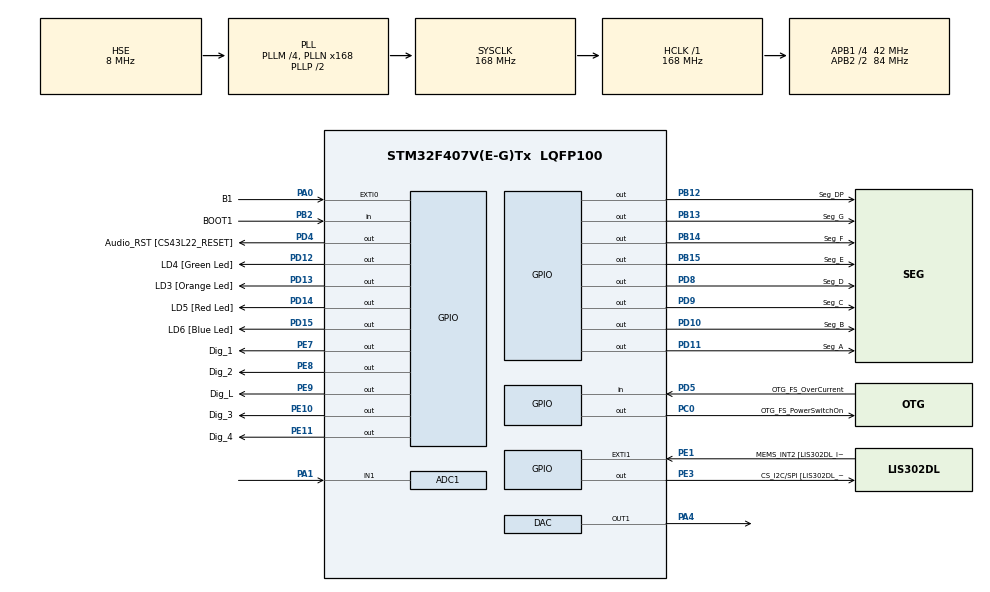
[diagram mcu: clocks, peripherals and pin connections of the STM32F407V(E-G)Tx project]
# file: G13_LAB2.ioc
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ADC1.Channel-0\#ChannelRegularConversion=ADC_CHANNEL_1
ADC1.ClockPrescaler=ADC_CLOCK_SYNC_PCLK_DIV4
ADC1.ContinuousConvMode=DISABLE
ADC1.DMAContinuousRequests=DISABLE
ADC1.DataAlign=ADC_DATAALIGN_RIGHT
ADC1.DiscontinuousConvMode=DISABLE
ADC1.EOCSelection=ADC_EOC_SINGLE_CONV
ADC1.EnableAnalogWatchDog=false
ADC1.ExternalTrigConv=ADC_SOFTWARE_START
ADC1.ExternalTrigConvEdge=ADC_EXTERNALTRIGCONVEDGE_NONE
ADC1.InjNumberOfConversion=0
ADC1.NbrOfConversion=1
ADC1.NbrOfConversionFlag=1
ADC1.Rank-0\#ChannelRegularConversion=1
ADC1.Resolution=ADC_RESOLUTION_10B
ADC1.SamplingTime-0\#ChannelRegularConversion=ADC_SAMPLETIME_3CYCLES
ADC1.ScanConvMode=DISABLE
ADC1.master=1
Mcu.Family=STM32F4
Mcu.Name=STM32F407V(E-G)Tx
Mcu.Package=LQFP100
NVIC.ADC_IRQn=true\:0\:0\:false\:false\:true\:true
NVIC.EXTI0_IRQn=true\:0\:0\:false\:false\:true\:true
NVIC.PriorityGroup=NVIC_PRIORITYGROUP_0
PA0-WKUP.GPIO_Label=B1
PA0-WKUP.GPIO_ModeDefaultEXTI=GPIO_MODE_IT_RISING
PA0-WKUP.Signal=GPXTI0
PA1.Signal=ADCx_IN1
PA10.GPIO_Label=OTG_FS_ID
PA10.GPIO_Mode=GPIO_MODE_AF_PP
PA10.GPIO_PuPd=GPIO_NOPULL
PA10.GPIO_Speed=GPIO_SPEED_FREQ_LOW
PA10.Signal=USB_OTG_FS_ID
PA11.GPIO_Label=OTG_FS_DM
PA11.GPIO_Mode=GPIO_MODE_AF_PP
PA11.GPIO_PuPd=GPIO_NOPULL
PA11.GPIO_Speed=GPIO_SPEED_FREQ_LOW
PA11.Signal=USB_OTG_FS_DM
PA12.GPIO_Label=OTG_FS_DP
PA12.GPIO_Mode=GPIO_MODE_AF_PP
PA12.GPIO_PuPd=GPIO_NOPULL
PA12.GPIO_Speed=GPIO_SPEED_FREQ_LOW
PA12.Signal=USB_OTG_FS_DP
PA13.GPIO_Label=SWDIO
PA13.Signal=SYS_JTMS-SWDIO
PA14.GPIO_Label=SWCLK
PA14.Signal=SYS_JTCK-SWCLK
PA4.Signal=COMP_DAC1_group
PA5.GPIO_Label=SPI1_SCK [LIS302DL_SCL/SPC]
PA5.GPIO_Mode=GPIO_MODE_AF_PP
PA5.GPIO_PuPd=GPIO_NOPULL
PA5.GPIO_Speed=GPIO_SPEED_FREQ_LOW
PA5.Signal=SPI1_SCK
PA6.GPIO_Label=SPI1_MISO [LIS302DL_SDO]
PA6.GPIO_Mode=GPIO_MODE_AF_PP
PA6.GPIO_PuPd=GPIO_NOPULL
PA6.GPIO_Speed=GPIO_SPEED_FREQ_LOW
PA6.Signal=SPI1_MISO
PA7.GPIO_Label=SPI1_MOSI [LIS302DL_SDA/SDI/SDO]
PA7.GPIO_Mode=GPIO_MODE_AF_PP
PA7.GPIO_PuPd=GPIO_NOPULL
PA7.GPIO_Speed=GPIO_SPEED_FREQ_LOW
PA7.Signal=SPI1_MOSI
PA9.GPIO_Label=VBUS_FS
PA9.GPIO_Mode=GPIO_MODE_INPUT
PA9.GPIO_PuPd=GPIO_NOPULL
PA9.Signal=USB_OTG_FS_VBUS
PB10.GPIO_Label=CLK_IN [MP45DT02_CLK]
PB10.GPIO_Mode=GPIO_MODE_AF_PP
PB10.GPIO_PuPd=GPIO_NOPULL
PB10.GPIO_Speed=GPIO_SPEED_FREQ_LOW
PB10.Signal=I2S2_CK
PB12.GPIO_Label=Seg_DP
PB12.Signal=GPIO_Output
PB13.GPIO_Label=Seg_G
PB13.Signal=GPIO_Output
PB14.GPIO_Label=Seg_F
PB14.Signal=GPIO_Output
PB15.GPIO_Label=Seg_E
PB15.Signal=GPIO_Output
PB2.GPIO_Label=BOOT1
PB2.GPIO_Mode=GPIO_MODE_INPUT
PB2.GPIO_PuPd=GPIO_NOPULL
PB2.Signal=GPIO_Input
PB3.GPIO_Label=SWO
PB3.Signal=SYS_JTDO-SWO
PB6.GPIO_Label=Audio_SCL [CS43L22_SCL]
PB6.GPIO_Mode=GPIO_MODE_AF_OD
PB6.GPIO_PuPd=GPIO_NOPULL
PB6.GPIO_Speed=GPIO_SPEED_FREQ_LOW
PB6.Signal=I2C1_SCL
PB9.GPIO_Label=Audio_SDA [CS43L22_SDA]
PB9.GPIO_Mode=GPIO_MODE_AF_OD
PB9.GPIO_PuPd=GPIO_NOPULL
PB9.GPIO_Speed=GPIO_SPEED_FREQ_LOW
PB9.Signal=I2C1_SDA
PC0.GPIO_Label=OTG_FS_PowerSwitchOn
PC0.GPIO_PuPd=GPIO_NOPULL
PC0.GPIO_Speed=GPIO_SPEED_FREQ_LOW
PC0.PinState=GPIO_PIN_SET
PC0.Signal=GPIO_Output
PC10.GPIO_Label=I2S3_SCK [CS43L22_SCLK]
PC10.GPIO_Mode=GPIO_MODE_AF_PP
PC10.GPIO_PuPd=GPIO_NOPULL
PC10.GPIO_Speed=GPIO_SPEED_FREQ_LOW
PC10.Signal=I2S3_CK
PC12.GPIO_Label=I2S3_SD [CS43L22_SDIN]
PC12.GPIO_Mode=GPIO_MODE_AF_PP
PC12.GPIO_PuPd=GPIO_NOPULL
PC12.GPIO_Speed=GPIO_SPEED_FREQ_LOW
PC12.Signal=I2S3_SD
PC14-OSC32_IN.GPIO_Label=PC14-OSC32_IN
PC14-OSC32_IN.Signal=RCC_OSC32_IN
PC15-OSC32_OUT.GPIO_Label=PC15-OSC32_OUT
PC15-OSC32_OUT.Signal=RCC_OSC32_OUT
PC3.GPIO_Label=PDM_OUT [MP45DT02_DOUT]
PC3.GPIO_Mode=GPIO_MODE_AF_PP
PC3.GPIO_PuPd=GPIO_NOPULL
PC3.GPIO_Speed=GPIO_SPEED_FREQ_LOW
PC3.Signal=I2S2_SD
PC7.GPIO_Label=I2S3_MCK [CS43L22_MCLK]
PC7.GPIO_Mode=GPIO_MODE_AF_PP
PC7.GPIO_PuPd=GPIO_NOPULL
PC7.GPIO_Speed=GPIO_SPEED_FREQ_LOW
PC7.Signal=I2S3_MCK
PD10.GPIO_Label=Seg_B
PD10.Signal=GPIO_Output
PD11.GPIO_Label=Seg_A
PD11.Signal=GPIO_Output
PD12.GPIO_Label=LD4 [Green Led]
PD12.GPIO_PuPd=GPIO_NOPULL
PD12.GPIO_Speed=GPIO_SPEED_FREQ_LOW
PD12.Signal=GPIO_Output
PD13.GPIO_Label=LD3 [Orange Led]
PD13.GPIO_PuPd=GPIO_NOPULL
PD13.GPIO_Speed=GPIO_SPEED_FREQ_LOW
PD13.Signal=GPIO_Output
PD14.GPIO_Label=LD5 [Red Led]
PD14.GPIO_PuPd=GPIO_NOPULL
PD14.GPIO_Speed=GPIO_SPEED_FREQ_LOW
PD14.Signal=GPIO_Output
PD15.GPIO_Label=LD6 [Blue Led]
PD15.GPIO_PuPd=GPIO_NOPULL
PD15.GPIO_Speed=GPIO_SPEED_FREQ_LOW
PD15.Signal=GPIO_Output
PD4.GPIO_Label=Audio_RST [CS43L22_RESET]
PD4.GPIO_PuPd=GPIO_NOPULL
PD4.GPIO_Speed=GPIO_SPEED_FREQ_LOW
PD4.Signal=GPIO_Output
PD5.GPIO_Label=OTG_FS_OverCurrent
PD5.GPIO_Mode=GPIO_MODE_INPUT
PD5.GPIO_PuPd=GPIO_NOPULL
PD5.Signal=GPIO_Input
PD8.GPIO_Label=Seg_D
PD8.Signal=GPIO_Output
PD9.GPIO_Label=Seg_C
PD9.Signal=GPIO_Output
PE1.GPIO_Label=MEMS_INT2 [LIS302DL_INT2]
PE1.GPIO_ModeDefaultEXTI=GPIO_MODE_EVT_RISING
PE1.GPIO_PuPd=GPIO_NOPULL
PE1.Signal=GPXTI1
PE10.GPIO_Label=Dig_3
PE10.Signal=GPIO_Output
PE11.GPIO_Label=Dig_4
PE11.Signal=GPIO_Output
PE3.GPIO_Label=CS_I2C/SPI [LIS302DL_CS_I2C/SPI]
PE3.GPIO_PuPd=GPIO_NOPULL
PE3.GPIO_Speed=GPIO_SPEED_FREQ_LOW
PE3.Signal=GPIO_Output
PE7.GPIO_Label=Dig_1
PE7.Signal=GPIO_Output
PE8.GPIO_Label=Dig_2
PE8.Signal=GPIO_Output
PE9.GPIO_Label=Dig_L
PE9.Signal=GPIO_Output
PH0-OSC_IN.GPIO_Label=PH0-OSC_IN
PH0-OSC_IN.Mode=HSE-External-Oscillator
PH0-OSC_IN.Signal=RCC_OSC_IN
PH1-OSC_OUT.GPIO_Label=PH1-OSC_OUT
PH1-OSC_OUT.Mode=HSE-External-Oscillator
PH1-OSC_OUT.Signal=RCC_OSC_OUT
ProjectManager.HeapSize=0x200
ProjectManager.StackSize=0x400
ProjectManager.TargetToolchain=MDK-ARM V5
RCC.48MHZClocksFreq_Value=48000000
RCC.AHBFreq_Value=168000000
RCC.APB1CLKDivider=RCC_HCLK_DIV4
RCC.APB1Freq_Value=42000000
RCC.APB1TimFreq_Value=84000000
RCC.APB2CLKDivider=RCC_HCLK_DIV2
RCC.APB2Freq_Value=84000000
RCC.APB2TimFreq_Value=168000000
RCC.CortexFreq_Value=168000000
RCC.HCLKFreq_Value=168000000
RCC.HSE_VALUE=8000000
RCC.HSI_VALUE=16000000
RCC.LSE_VALUE=32768
RCC.PLLM=4
RCC.PLLN=168
RCC.PLLQ=7
RCC.PLLSourceVirtual=RCC_PLLSOURCE_HSE
RCC.SYSCLKFreq_VALUE=168000000
RCC.SYSCLKSource=RCC_SYSCLKSOURCE_PLLCLK
RCC.VCOOutputFreq_Value=336000000
SH.ADCx_IN1.0=ADC1_IN1,IN1
SH.COMP_DAC1_group.0=DAC_OUT1,DAC_OUT1
board=STM32F4DISCOVERY

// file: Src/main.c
/**
  ******************************************************************************
  * @file           : main.c
  * @brief          : Main program body
  ******************************************************************************
  ** This notice applies to any and all portions of this file
  * that are not between comment pairs USER CODE BEGIN and
  * USER CODE END. Other portions of this file, whether
  * inserted by the user or by software development tools
  * are owned by their respective copyright owners.
  *
  * COPYRIGHT(c) 2018 STMicroelectronics
  *
  * Redistribution and use in source and binary forms, with or without modification,
  * are permitted provided that the following conditions are met:
  *   1. Redistributions of source code must retain the above copyright notice,
  *      this list of conditions and the following disclaimer.
  *   2. Redistributions in binary form must reproduce the above copyright notice,
  *      this list of conditions and the following disclaimer in the documentation
  *      and/or other materials provided with the distribution.
  *   3. Neither the name of STMicroelectronics nor the names of its contributors
  *      may be used to endorse or promote products derived from this software
  *      without specific prior written permission.
  *
  * THIS SOFTWARE IS PROVIDED BY THE COPYRIGHT HOLDERS AND CONTRIBUTORS "AS IS"
  * AND ANY EXPRESS OR IMPLIED WARRANTIES, INCLUDING, BUT NOT LIMITED TO, THE
  * IMPLIED WARRANTIES OF MERCHANTABILITY AND FITNESS FOR A PARTICULAR PURPOSE ARE
  * DISCLAIMED. IN NO EVENT SHALL THE COPYRIGHT HOLDER OR CONTRIBUTORS BE LIABLE
  * FOR ANY DIRECT, INDIRECT, INCIDENTAL, SPECIAL, EXEMPLARY, OR CONSEQUENTIAL
  * DAMAGES (INCLUDING, BUT NOT LIMITED TO, PROCUREMENT OF SUBSTITUTE GOODS OR
  * SERVICES; LOSS OF USE, DATA, OR PROFITS; OR BUSINESS INTERRUPTION) HOWEVER
  * CAUSED AND ON ANY THEORY OF LIABILITY, WHETHER IN CONTRACT, STRICT LIABILITY,
  * OR TORT (INCLUDING NEGLIGENCE OR OTHERWISE) ARISING IN ANY WAY OUT OF THE USE
  * OF THIS SOFTWARE, EVEN IF ADVISED OF THE POSSIBILITY OF SUCH DAMAGE.
  *
  ******************************************************************************
  */
#include "main.h"
#include "stm32f4xx_hal.h"

/* USER CODE BEGIN Includes */
#include <math.h>

/* USER CODE END Includes */

ADC_HandleTypeDef hadc1;

DAC_HandleTypeDef hdac;

/* USER CODE BEGIN PV */
/* Private variables ---------------------------------------------------------*/

int sampleNB = 100; //CHANGE FOR SAMPLE NUMBER
int sample = 0;

#define MATH_ARRAY_SIZE 5
int displayMode = 0;
float filterMemory [] = {0, 0, 0, 0, 0};
int adc_val;
float filtered_adc;
float mathResults [MATH_ARRAY_SIZE];
extern uint8_t systickFlag;
extern uint8_t buttonFlag;

/* USER CODE END PV */

void SystemClock_Config(void);
static void MX_GPIO_Init(void);
static void MX_ADC1_Init(void);
static void MX_DAC_Init(void);

/* USER CODE BEGIN PFP */
/* Private function prototypes -----------------------------------------------*/
void FIR_C(float input, float *output);
//int buttonPressed();
void displayNum (int num, int pos);
void C_math (float * inputArray, float * outputArray, int length);
void display (int mode, float num);

/* USER CODE END PFP */

int main(void)
{
  /* USER CODE BEGIN 1 */

	float data [sampleNB];

  /* Reset of all peripherals, Initializes the Flash interface and the Systick. */

  /* USER CODE END 1 */

  /* MCU Configuration----------------------------------------------------------*/

  /* Reset of all peripherals, Initializes the Flash interface and the Systick. */
  HAL_Init();

  /* Configure the system clock */
  SystemClock_Config();

  /* Initialize all configured peripherals */
  MX_GPIO_Init();
  MX_ADC1_Init();
  MX_DAC_Init();
  /* USER CODE BEGIN 2 */
		printf("begin!");

  /* USER CODE END 2 */

  /* Infinite loop */
  /* USER CODE BEGIN WHILE */

	while (1){
		if(systickFlag == 1){

			systickFlag = 0;

			int dac_val = 0x30;
			HAL_DAC_Start(&hdac, DAC_CHANNEL_1);
			HAL_DAC_SetValue(&hdac, DAC_CHANNEL_1, DAC_ALIGN_8B_R, dac_val);    //DAC is 8 bits resolution

			HAL_ADC_Start_IT(&hadc1);

			adc_val = HAL_ADC_GetValue(&hadc1);
			//FIR_C(adc_val, &filtered_adc);
			float test = (float)adc_val*3.0/1023.0;
			FIR_C(test, &filtered_adc);             //filter ADC value
			data [sample] = filtered_adc;           //store filtered data in array

			sample ++;
			sample = sample % sampleNB;
		}
		if ( buttonFlag == 1){
			buttonFlag = 0;
			displayMode = displayMode + 1;
			displayMode = displayMode % 3;
			printf("displayMode = %d \n!", displayMode);
		}

		C_math (&data[0], &mathResults [0], sampleNB);                //perform math operation on data to get RMS, min and max values

		switch(displayMode) {
			case 0:
				HAL_GPIO_WritePin(GPIOD, LD3_Pin, GPIO_PIN_SET); // switch on LED6
				HAL_GPIO_WritePin(GPIOD, LD4_Pin, GPIO_PIN_RESET); // reset LED4
				HAL_GPIO_WritePin(GPIOD, LD5_Pin, GPIO_PIN_RESET);
				HAL_GPIO_WritePin(GPIOD, LD6_Pin, GPIO_PIN_RESET);
				break;
			case 1:
				HAL_GPIO_WritePin(GPIOD, LD4_Pin, GPIO_PIN_SET); // switch on LED5
				HAL_GPIO_WritePin(GPIOD, LD3_Pin, GPIO_PIN_RESET); // reset LED6
				HAL_GPIO_WritePin(GPIOD, LD5_Pin, GPIO_PIN_RESET);
				HAL_GPIO_WritePin(GPIOD, LD6_Pin, GPIO_PIN_RESET);
				break;
			case 2:
				HAL_GPIO_WritePin(GPIOD, LD5_Pin, GPIO_PIN_SET); // switch on LED4
				HAL_GPIO_WritePin(GPIOD, LD3_Pin, GPIO_PIN_RESET); // reset LED5
				HAL_GPIO_WritePin(GPIOD, LD4_Pin, GPIO_PIN_RESET);
				HAL_GPIO_WritePin(GPIOD, LD6_Pin, GPIO_PIN_RESET);
				break;
			default:
				break;
		}

		display (displayMode, mathResults [displayMode]);

  /* USER CODE END WHILE */

	}

}

void SystemClock_Config(void)
{

  RCC_OscInitTypeDef RCC_OscInitStruct;
  RCC_ClkInitTypeDef RCC_ClkInitStruct;

    /**Configure the main internal regulator output voltage
    */
  __HAL_RCC_PWR_CLK_ENABLE();

  __HAL_PWR_VOLTAGESCALING_CONFIG(PWR_REGULATOR_VOLTAGE_SCALE1);

    /**Initializes the CPU, AHB and APB busses clocks
    */
  RCC_OscInitStruct.OscillatorType = RCC_OSCILLATORTYPE_HSE;
  RCC_OscInitStruct.HSEState = RCC_HSE_ON;
  RCC_OscInitStruct.PLL.PLLState = RCC_PLL_ON;
  RCC_OscInitStruct.PLL.PLLSource = RCC_PLLSOURCE_HSE;
  RCC_OscInitStruct.PLL.PLLM = 4;
  RCC_OscInitStruct.PLL.PLLN = 168;
  RCC_OscInitStruct.PLL.PLLP = RCC_PLLP_DIV2;
  RCC_OscInitStruct.PLL.PLLQ = 7;
  if (HAL_RCC_OscConfig(&RCC_OscInitStruct) != HAL_OK)
  {
    _Error_Handler(__FILE__, __LINE__);
  }

    /**Initializes the CPU, AHB and APB busses clocks
    */
  RCC_ClkInitStruct.ClockType = RCC_CLOCKTYPE_HCLK|RCC_CLOCKTYPE_SYSCLK
                              |RCC_CLOCKTYPE_PCLK1|RCC_CLOCKTYPE_PCLK2;
  RCC_ClkInitStruct.SYSCLKSource = RCC_SYSCLKSOURCE_PLLCLK;
  RCC_ClkInitStruct.AHBCLKDivider = RCC_SYSCLK_DIV1;
  RCC_ClkInitStruct.APB1CLKDivider = RCC_HCLK_DIV4;
  RCC_ClkInitStruct.APB2CLKDivider = RCC_HCLK_DIV2;

  if (HAL_RCC_ClockConfig(&RCC_ClkInitStruct, FLASH_LATENCY_5) != HAL_OK)
  {
    _Error_Handler(__FILE__, __LINE__);
  }

    /**Configure the Systick interrupt time
    */
  HAL_SYSTICK_Config(HAL_RCC_GetHCLKFreq()/1000);

    /**Configure the Systick
    */
  HAL_SYSTICK_CLKSourceConfig(SYSTICK_CLKSOURCE_HCLK);

  /* SysTick_IRQn interrupt configuration */
  HAL_NVIC_SetPriority(SysTick_IRQn, 0, 0);
}

/* ADC1 init function */
static void MX_ADC1_Init(void)
{

  ADC_ChannelConfTypeDef sConfig;

    /**Configure the global features of the ADC (Clock, Resolution, Data Alignment and number of conversion)
    */
  hadc1.Instance = ADC1;
  hadc1.Init.ClockPrescaler = ADC_CLOCK_SYNC_PCLK_DIV4;
  hadc1.Init.Resolution = ADC_RESOLUTION_10B;
  hadc1.Init.ScanConvMode = DISABLE;
  hadc1.Init.ContinuousConvMode = DISABLE;
  hadc1.Init.DiscontinuousConvMode = DISABLE;
  hadc1.Init.ExternalTrigConvEdge = ADC_EXTERNALTRIGCONVEDGE_NONE;
  hadc1.Init.ExternalTrigConv = ADC_SOFTWARE_START;
  hadc1.Init.DataAlign = ADC_DATAALIGN_RIGHT;
  hadc1.Init.NbrOfConversion = 1;
  hadc1.Init.DMAContinuousRequests = DISABLE;
  hadc1.Init.EOCSelection = ADC_EOC_SINGLE_CONV;
  if (HAL_ADC_Init(&hadc1) != HAL_OK)
  {
    _Error_Handler(__FILE__, __LINE__);
  }

    /**Configure for the selected ADC regular channel its corresponding rank in the sequencer and its sample time.
    */
  sConfig.Channel = ADC_CHANNEL_1;
  sConfig.Rank = 1;
  sConfig.SamplingTime = ADC_SAMPLETIME_3CYCLES;
  if (HAL_ADC_ConfigChannel(&hadc1, &sConfig) != HAL_OK)
  {
    _Error_Handler(__FILE__, __LINE__);
  }

}

/* DAC init function */
static void MX_DAC_Init(void)
{

  DAC_ChannelConfTypeDef sConfig;

    /**DAC Initialization
    */
  hdac.Instance = DAC;
  if (HAL_DAC_Init(&hdac) != HAL_OK)
  {
    _Error_Handler(__FILE__, __LINE__);
  }

    /**DAC channel OUT1 config
    */
  sConfig.DAC_Trigger = DAC_TRIGGER_NONE;
  sConfig.DAC_OutputBuffer = DAC_OUTPUTBUFFER_ENABLE;
  if (HAL_DAC_ConfigChannel(&hdac, &sConfig, DAC_CHANNEL_1) != HAL_OK)
  {
    _Error_Handler(__FILE__, __LINE__);
  }

}

/** Configure pins as
        * Analog
        * Input
        * Output
        * EVENT_OUT
        * EXTI
     PC3   ------> I2S2_SD
     PA5   ------> SPI1_SCK
     PA6   ------> SPI1_MISO
     PA7   ------> SPI1_MOSI
     PB10   ------> I2S2_CK
     PC7   ------> I2S3_MCK
     PA9   ------> USB_OTG_FS_VBUS
     PA10   ------> USB_OTG_FS_ID
     PA11   ------> USB_OTG_FS_DM
     PA12   ------> USB_OTG_FS_DP
     PC10   ------> I2S3_CK
     PC12   ------> I2S3_SD
     PB6   ------> I2C1_SCL
     PB9   ------> I2C1_SDA
*/
static void MX_GPIO_Init(void)
{

  GPIO_InitTypeDef GPIO_InitStruct;

  /* GPIO Ports Clock Enable */
  __HAL_RCC_GPIOE_CLK_ENABLE();
  __HAL_RCC_GPIOC_CLK_ENABLE();
  __HAL_RCC_GPIOH_CLK_ENABLE();
  __HAL_RCC_GPIOA_CLK_ENABLE();
  __HAL_RCC_GPIOB_CLK_ENABLE();
  __HAL_RCC_GPIOD_CLK_ENABLE();

  /*Configure GPIO pin Output Level */
  HAL_GPIO_WritePin(GPIOE, CS_I2C_SPI_Pin|Dig_1_Pin|Dig_2_Pin|Dig_L_Pin
                          |Dig_3_Pin|Dig_4_Pin, GPIO_PIN_RESET);

  /*Configure GPIO pin Output Level */
  HAL_GPIO_WritePin(OTG_FS_PowerSwitchOn_GPIO_Port, OTG_FS_PowerSwitchOn_Pin, GPIO_PIN_SET);

  /*Configure GPIO pin Output Level */
  HAL_GPIO_WritePin(GPIOB, Seg_DP_Pin|Seg_G_Pin|Seg_F_Pin|Seg_E_Pin, GPIO_PIN_RESET);

  /*Configure GPIO pin Output Level */
  HAL_GPIO_WritePin(GPIOD, Seg_D_Pin|Seg_C_Pin|Seg_B_Pin|Seg_A_Pin
                          |LD4_Pin|LD3_Pin|LD5_Pin|LD6_Pin
                          |Audio_RST_Pin, GPIO_PIN_RESET);

  /*Configure GPIO pins : CS_I2C_SPI_Pin Dig_1_Pin Dig_2_Pin Dig_L_Pin
                           Dig_3_Pin Dig_4_Pin */
  GPIO_InitStruct.Pin = CS_I2C_SPI_Pin|Dig_1_Pin|Dig_2_Pin|Dig_L_Pin
                          |Dig_3_Pin|Dig_4_Pin;
  GPIO_InitStruct.Mode = GPIO_MODE_OUTPUT_PP;
  GPIO_InitStruct.Pull = GPIO_NOPULL;
  GPIO_InitStruct.Speed = GPIO_SPEED_FREQ_LOW;
  HAL_GPIO_Init(GPIOE, &GPIO_InitStruct);

  /*Configure GPIO pin : OTG_FS_PowerSwitchOn_Pin */
  GPIO_InitStruct.Pin = OTG_FS_PowerSwitchOn_Pin;
  GPIO_InitStruct.Mode = GPIO_MODE_OUTPUT_PP;
  GPIO_InitStruct.Pull = GPIO_NOPULL;
  GPIO_InitStruct.Speed = GPIO_SPEED_FREQ_LOW;
  HAL_GPIO_Init(OTG_FS_PowerSwitchOn_GPIO_Port, &GPIO_InitStruct);

  /*Configure GPIO pin : PDM_OUT_Pin */
  GPIO_InitStruct.Pin = PDM_OUT_Pin;
  GPIO_InitStruct.Mode = GPIO_MODE_AF_PP;
  GPIO_InitStruct.Pull = GPIO_NOPULL;
  GPIO_InitStruct.Speed = GPIO_SPEED_FREQ_LOW;
  GPIO_InitStruct.Alternate = GPIO_AF5_SPI2;
  HAL_GPIO_Init(PDM_OUT_GPIO_Port, &GPIO_InitStruct);

  /*Configure GPIO pin : B1_Pin */
  GPIO_InitStruct.Pin = B1_Pin;
  GPIO_InitStruct.Mode = GPIO_MODE_IT_RISING;
  GPIO_InitStruct.Pull = GPIO_NOPULL;
  HAL_GPIO_Init(B1_GPIO_Port, &GPIO_InitStruct);

  /*Configure GPIO pins : SPI1_SCK_Pin SPI1_MISO_Pin SPI1_MOSI_Pin */
  GPIO_InitStruct.Pin = SPI1_SCK_Pin|SPI1_MISO_Pin|SPI1_MOSI_Pin;
  GPIO_InitStruct.Mode = GPIO_MODE_AF_PP;
  GPIO_InitStruct.Pull = GPIO_NOPULL;
  GPIO_InitStruct.Speed = GPIO_SPEED_FREQ_LOW;
  GPIO_InitStruct.Alternate = GPIO_AF5_SPI1;
  HAL_GPIO_Init(GPIOA, &GPIO_InitStruct);

  /*Configure GPIO pin : BOOT1_Pin */
  GPIO_InitStruct.Pin = BOOT1_Pin;
  GPIO_InitStruct.Mode = GPIO_MODE_INPUT;
  GPIO_InitStruct.Pull = GPIO_NOPULL;
  HAL_GPIO_Init(BOOT1_GPIO_Port, &GPIO_InitStruct);

  /*Configure GPIO pin : CLK_IN_Pin */
  GPIO_InitStruct.Pin = CLK_IN_Pin;
  GPIO_InitStruct.Mode = GPIO_MODE_AF_PP;
  GPIO_InitStruct.Pull = GPIO_NOPULL;
  GPIO_InitStruct.Speed = GPIO_SPEED_FREQ_LOW;
  GPIO_InitStruct.Alternate = GPIO_AF5_SPI2;
  HAL_GPIO_Init(CLK_IN_GPIO_Port, &GPIO_InitStruct);

  /*Configure GPIO pins : Seg_DP_Pin Seg_G_Pin Seg_F_Pin Seg_E_Pin */
  GPIO_InitStruct.Pin = Seg_DP_Pin|Seg_G_Pin|Seg_F_Pin|Seg_E_Pin;
  GPIO_InitStruct.Mode = GPIO_MODE_OUTPUT_PP;
  GPIO_InitStruct.Pull = GPIO_NOPULL;
  GPIO_InitStruct.Speed = GPIO_SPEED_FREQ_LOW;
  HAL_GPIO_Init(GPIOB, &GPIO_InitStruct);

  /*Configure GPIO pins : Seg_D_Pin Seg_C_Pin Seg_B_Pin Seg_A_Pin
                           LD4_Pin LD3_Pin LD5_Pin LD6_Pin
                           Audio_RST_Pin */
  GPIO_InitStruct.Pin = Seg_D_Pin|Seg_C_Pin|Seg_B_Pin|Seg_A_Pin
                          |LD4_Pin|LD3_Pin|LD5_Pin|LD6_Pin
                          |Audio_RST_Pin;
  GPIO_InitStruct.Mode = GPIO_MODE_OUTPUT_PP;
  GPIO_InitStruct.Pull = GPIO_NOPULL;
  GPIO_InitStruct.Speed = GPIO_SPEED_FREQ_LOW;
  HAL_GPIO_Init(GPIOD, &GPIO_InitStruct);

  /*Configure GPIO pins : I2S3_MCK_Pin I2S3_SCK_Pin I2S3_SD_Pin */
  GPIO_InitStruct.Pin = I2S3_MCK_Pin|I2S3_SCK_Pin|I2S3_SD_Pin;
  GPIO_InitStruct.Mode = GPIO_MODE_AF_PP;
  GPIO_InitStruct.Pull = GPIO_NOPULL;
  GPIO_InitStruct.Speed = GPIO_SPEED_FREQ_LOW;
  GPIO_InitStruct.Alternate = GPIO_AF6_SPI3;
  HAL_GPIO_Init(GPIOC, &GPIO_InitStruct);

  /*Configure GPIO pin : VBUS_FS_Pin */
  GPIO_InitStruct.Pin = VBUS_FS_Pin;
  GPIO_InitStruct.Mode = GPIO_MODE_INPUT;
  GPIO_InitStruct.Pull = GPIO_NOPULL;
  HAL_GPIO_Init(VBUS_FS_GPIO_Port, &GPIO_InitStruct);

  /*Configure GPIO pins : OTG_FS_ID_Pin OTG_FS_DM_Pin OTG_FS_DP_Pin */
  GPIO_InitStruct.Pin = OTG_FS_ID_Pin|OTG_FS_DM_Pin|OTG_FS_DP_Pin;
  GPIO_InitStruct.Mode = GPIO_MODE_AF_PP;
  GPIO_InitStruct.Pull = GPIO_NOPULL;
  GPIO_InitStruct.Speed = GPIO_SPEED_FREQ_LOW;
  GPIO_InitStruct.Alternate = GPIO_AF10_OTG_FS;
  HAL_GPIO_Init(GPIOA, &GPIO_InitStruct);

  /*Configure GPIO pin : OTG_FS_OverCurrent_Pin */
  GPIO_InitStruct.Pin = OTG_FS_OverCurrent_Pin;
  GPIO_InitStruct.Mode = GPIO_MODE_INPUT;
  GPIO_InitStruct.Pull = GPIO_NOPULL;
  HAL_GPIO_Init(OTG_FS_OverCurrent_GPIO_Port, &GPIO_InitStruct);

  /*Configure GPIO pins : Audio_SCL_Pin Audio_SDA_Pin */
  GPIO_InitStruct.Pin = Audio_SCL_Pin|Audio_SDA_Pin;
  GPIO_InitStruct.Mode = GPIO_MODE_AF_OD;
  GPIO_InitStruct.Pull = GPIO_PULLUP;
  GPIO_InitStruct.Speed = GPIO_SPEED_FREQ_LOW;
  GPIO_InitStruct.Alternate = GPIO_AF4_I2C1;
  HAL_GPIO_Init(GPIOB, &GPIO_InitStruct);

  /*Configure GPIO pin : MEMS_INT2_Pin */
  GPIO_InitStruct.Pin = MEMS_INT2_Pin;
  GPIO_InitStruct.Mode = GPIO_MODE_EVT_RISING;
  GPIO_InitStruct.Pull = GPIO_NOPULL;
  HAL_GPIO_Init(MEMS_INT2_GPIO_Port, &GPIO_InitStruct);

  /* EXTI interrupt init*/
  HAL_NVIC_SetPriority(EXTI0_IRQn, 0, 0);
  HAL_NVIC_EnableIRQ(EXTI0_IRQn);

}

/* USER CODE BEGIN 4 */
/**
  * @brief  This function displays a integer on one of the digits of a 7 segiment, 4 digit led display
	* @param  num: integer number to be displayed
						pos: the location in a 4 digit display,
  * @retval none
  */
void displayNum (int num, int pos) {       //function used to diplay a single digit on LED segments
	switch (num){
		case 0:
			HAL_GPIO_WritePin(GPIOD, Seg_A_Pin, GPIO_PIN_SET);
			HAL_GPIO_WritePin(GPIOD, Seg_B_Pin, GPIO_PIN_SET);
			HAL_GPIO_WritePin(GPIOD, Seg_C_Pin, GPIO_PIN_SET);
			HAL_GPIO_WritePin(GPIOD, Seg_D_Pin, GPIO_PIN_SET);
			HAL_GPIO_WritePin(GPIOB, Seg_E_Pin, GPIO_PIN_SET);
			HAL_GPIO_WritePin(GPIOB, Seg_F_Pin, GPIO_PIN_SET);
			HAL_GPIO_WritePin(GPIOB, Seg_G_Pin, GPIO_PIN_RESET);
			break;
		case 1:
			HAL_GPIO_WritePin(GPIOD, Seg_A_Pin, GPIO_PIN_RESET);
			HAL_GPIO_WritePin(GPIOD, Seg_B_Pin, GPIO_PIN_SET);
			HAL_GPIO_WritePin(GPIOD, Seg_C_Pin, GPIO_PIN_SET);
			HAL_GPIO_WritePin(GPIOD, Seg_D_Pin, GPIO_PIN_RESET);
			HAL_GPIO_WritePin(GPIOB, Seg_E_Pin, GPIO_PIN_RESET);
			HAL_GPIO_WritePin(GPIOB, Seg_F_Pin, GPIO_PIN_RESET);
			HAL_GPIO_WritePin(GPIOB, Seg_G_Pin, GPIO_PIN_RESET);
			break;
		case 2:
			HAL_GPIO_WritePin(GPIOD, Seg_A_Pin, GPIO_PIN_SET);
			HAL_GPIO_WritePin(GPIOD, Seg_B_Pin, GPIO_PIN_SET);
			HAL_GPIO_WritePin(GPIOD, Seg_C_Pin, GPIO_PIN_RESET);
			HAL_GPIO_WritePin(GPIOD, Seg_D_Pin, GPIO_PIN_SET);
			HAL_GPIO_WritePin(GPIOB, Seg_E_Pin, GPIO_PIN_SET);
			HAL_GPIO_WritePin(GPIOB, Seg_F_Pin, GPIO_PIN_RESET);
			HAL_GPIO_WritePin(GPIOB, Seg_G_Pin, GPIO_PIN_SET);
			break;

		case 3:
			HAL_GPIO_WritePin(GPIOD, Seg_A_Pin, GPIO_PIN_SET);
			HAL_GPIO_WritePin(GPIOD, Seg_B_Pin, GPIO_PIN_SET);
			HAL_GPIO_WritePin(GPIOD, Seg_C_Pin, GPIO_PIN_SET);
			HAL_GPIO_WritePin(GPIOD, Seg_D_Pin, GPIO_PIN_SET);
			HAL_GPIO_WritePin(GPIOB, Seg_E_Pin, GPIO_PIN_RESET);
			HAL_GPIO_WritePin(GPIOB, Seg_F_Pin, GPIO_PIN_RESET);
			HAL_GPIO_WritePin(GPIOB, Seg_G_Pin, GPIO_PIN_SET);
			break;

		case 4:
			HAL_GPIO_WritePin(GPIOD, Seg_A_Pin, GPIO_PIN_RESET);
			HAL_GPIO_WritePin(GPIOD, Seg_B_Pin, GPIO_PIN_SET);
			HAL_GPIO_WritePin(GPIOD, Seg_C_Pin, GPIO_PIN_SET);
			HAL_GPIO_WritePin(GPIOD, Seg_D_Pin, GPIO_PIN_RESET);
			HAL_GPIO_WritePin(GPIOB, Seg_E_Pin, GPIO_PIN_RESET);
			HAL_GPIO_WritePin(GPIOB, Seg_F_Pin, GPIO_PIN_SET);
			HAL_GPIO_WritePin(GPIOB, Seg_G_Pin, GPIO_PIN_SET);
			break;

		case 5:
			HAL_GPIO_WritePin(GPIOD, Seg_A_Pin, GPIO_PIN_SET);
			HAL_GPIO_WritePin(GPIOD, Seg_B_Pin, GPIO_PIN_RESET);
			HAL_GPIO_WritePin(GPIOD, Seg_C_Pin, GPIO_PIN_SET);
			HAL_GPIO_WritePin(GPIOD, Seg_D_Pin, GPIO_PIN_SET);
			HAL_GPIO_WritePin(GPIOB, Seg_E_Pin, GPIO_PIN_RESET);
			HAL_GPIO_WritePin(GPIOB, Seg_F_Pin, GPIO_PIN_SET);
			HAL_GPIO_WritePin(GPIOB, Seg_G_Pin, GPIO_PIN_SET);
			break;

		case 6:
			HAL_GPIO_WritePin(GPIOD, Seg_A_Pin, GPIO_PIN_SET);
			HAL_GPIO_WritePin(GPIOD, Seg_B_Pin, GPIO_PIN_RESET);
			HAL_GPIO_WritePin(GPIOD, Seg_C_Pin, GPIO_PIN_SET);
			HAL_GPIO_WritePin(GPIOD, Seg_D_Pin, GPIO_PIN_SET);
			HAL_GPIO_WritePin(GPIOB, Seg_E_Pin, GPIO_PIN_SET);
			HAL_GPIO_WritePin(GPIOB, Seg_F_Pin, GPIO_PIN_SET);
			HAL_GPIO_WritePin(GPIOB, Seg_G_Pin, GPIO_PIN_SET);
			break;

		case 7:
			HAL_GPIO_WritePin(GPIOD, Seg_A_Pin, GPIO_PIN_SET);
			HAL_GPIO_WritePin(GPIOD, Seg_B_Pin, GPIO_PIN_SET);
			HAL_GPIO_WritePin(GPIOD, Seg_C_Pin, GPIO_PIN_SET);
			HAL_GPIO_WritePin(GPIOD, Seg_D_Pin, GPIO_PIN_RESET);
			HAL_GPIO_WritePin(GPIOB, Seg_E_Pin, GPIO_PIN_RESET);
			HAL_GPIO_WritePin(GPIOB, Seg_F_Pin, GPIO_PIN_RESET);
			HAL_GPIO_WritePin(GPIOB, Seg_G_Pin, GPIO_PIN_RESET);
			break;

		case 8:
			HAL_GPIO_WritePin(GPIOD, Seg_A_Pin, GPIO_PIN_SET);
			HAL_GPIO_WritePin(GPIOD, Seg_B_Pin, GPIO_PIN_SET);
			HAL_GPIO_WritePin(GPIOD, Seg_C_Pin, GPIO_PIN_SET);
			HAL_GPIO_WritePin(GPIOD, Seg_D_Pin, GPIO_PIN_SET);
			HAL_GPIO_WritePin(GPIOB, Seg_E_Pin, GPIO_PIN_SET);
			HAL_GPIO_WritePin(GPIOB, Seg_F_Pin, GPIO_PIN_SET);
			HAL_GPIO_WritePin(GPIOB, Seg_G_Pin, GPIO_PIN_SET);
			break;
		case 9:
			HAL_GPIO_WritePin(GPIOD, Seg_A_Pin, GPIO_PIN_SET);
			HAL_GPIO_WritePin(GPIOD, Seg_B_Pin, GPIO_PIN_SET);
			HAL_GPIO_WritePin(GPIOD, Seg_C_Pin, GPIO_PIN_SET);
			HAL_GPIO_WritePin(GPIOD, Seg_D_Pin, GPIO_PIN_RESET);
			HAL_GPIO_WritePin(GPIOB, Seg_E_Pin, GPIO_PIN_RESET);
			HAL_GPIO_WritePin(GPIOB, Seg_F_Pin, GPIO_PIN_SET);
			HAL_GPIO_WritePin(GPIOB, Seg_G_Pin, GPIO_PIN_SET);
			break;
		default :
			break;
	}

		switch (pos){
			case 0:
				HAL_GPIO_WritePin(GPIOE, Dig_1_Pin, GPIO_PIN_SET);
				HAL_GPIO_WritePin(GPIOE, Dig_2_Pin, GPIO_PIN_RESET);
				HAL_GPIO_WritePin(GPIOE, Dig_L_Pin, GPIO_PIN_RESET);
				HAL_GPIO_WritePin(GPIOE, Dig_3_Pin, GPIO_PIN_RESET);
				HAL_GPIO_WritePin(GPIOE, Dig_4_Pin, GPIO_PIN_RESET);
				HAL_GPIO_WritePin(GPIOB, Seg_DP_Pin, GPIO_PIN_RESET);
			break;
			case 1:
				HAL_GPIO_WritePin(GPIOE, Dig_1_Pin, GPIO_PIN_RESET);
				HAL_GPIO_WritePin(GPIOE, Dig_2_Pin, GPIO_PIN_SET);
				HAL_GPIO_WritePin(GPIOE, Dig_L_Pin, GPIO_PIN_RESET);
				HAL_GPIO_WritePin(GPIOE, Dig_3_Pin, GPIO_PIN_RESET);
				HAL_GPIO_WritePin(GPIOE, Dig_4_Pin, GPIO_PIN_RESET);
				HAL_GPIO_WritePin(GPIOB, Seg_DP_Pin, GPIO_PIN_SET);
			break;
			case 2:
				HAL_GPIO_WritePin(GPIOE, Dig_1_Pin, GPIO_PIN_RESET);
				HAL_GPIO_WritePin(GPIOE, Dig_2_Pin, GPIO_PIN_RESET);
				HAL_GPIO_WritePin(GPIOE, Dig_L_Pin, GPIO_PIN_RESET);
				HAL_GPIO_WritePin(GPIOE, Dig_3_Pin, GPIO_PIN_SET);
				HAL_GPIO_WritePin(GPIOE, Dig_4_Pin, GPIO_PIN_RESET);
				HAL_GPIO_WritePin(GPIOB, Seg_DP_Pin, GPIO_PIN_RESET);
			break;
			case 3 :
				HAL_GPIO_WritePin(GPIOE, Dig_1_Pin, GPIO_PIN_RESET);
				HAL_GPIO_WritePin(GPIOE, Dig_2_Pin, GPIO_PIN_RESET);
				HAL_GPIO_WritePin(GPIOE, Dig_L_Pin, GPIO_PIN_RESET);
				HAL_GPIO_WritePin(GPIOE, Dig_3_Pin, GPIO_PIN_RESET);
				HAL_GPIO_WritePin(GPIOE, Dig_4_Pin, GPIO_PIN_SET);
				HAL_GPIO_WritePin(GPIOB, Seg_DP_Pin, GPIO_PIN_RESET);
			break;
			default :
				break;
		}

}
/**
  * @brief  This is the FIR function from LAB 1
						Filters data using FIR to eliminate unwanted noise
	* @param  Input: data to be filtered
						Output: filtered data
  * @retval none
  */
void FIR_C(float Input, float *Output) {
	float coef [] = {0.2, 0.2, 0.2, 0.2, 0.2};          //coefficients -> SHOULD ADD UP TO 1 !
	float out = 0.0;
	for (int i = 4; i>0; i--){
		filterMemory[i] = filterMemory[i-1];
	}
	filterMemory [0] = Input;
	for (int i = 0; i<5; i++){
		out += coef[i]*filterMemory[i];
	}
	*Output = out;
}

/**
  * @brief  This is the C?math function from lab1
						calculates rms, max, min, min index, and max index from the given array
	* @param  inputArray: contains the samples to be analyzed
						outputArray: contains the array where the results are stored
						length: length of the input array
  * @retval none
  */
void C_math (float * inputArray, float * outputArray, int length){      //C_math function from lab 1

	float RMS=0;
	float maxVal = inputArray[0];
	float minVal = inputArray[0];
	int maxInd = 0;
	int minInd = 0;

	for (int i = 0; i< (length); i++){

		RMS += (inputArray[i])*(inputArray[i]);

		if ((inputArray[i]) > maxVal){
			maxVal = inputArray[i];
			maxInd = i;
		}
		if ((inputArray[i]) < minVal){
			minVal = (inputArray[i]);
			minInd = i;
		}
	}

	RMS = RMS/length;
	RMS = sqrt(RMS);

	outputArray [0]=RMS;
	outputArray [1]= maxVal;
	outputArray [2]= minVal;
	outputArray [3]= maxInd;
	outputArray [4]= minInd;

}

/**
  * @brief  detects a blue button press
  * @param  none
  * @retval returns 1 when button is pressed
						0 otherwise
  */
/*
int buttonPressed(){
	if ( HAL_GPIO_ReadPin(GPIOA, GPIO_PIN_0 ) == SET) {
		HAL_Delay(200);
		printf("button (pulled)!");
		return 1;
	}
	else
	{
		return 0;
	}
}
*/
/**
  * @brief  function used to display a float value on the LED segments
  * @param  num: the floating number to be displayed at digits 1, 2, and 3
*         	mode: the int thats displayed at the firist digit to indicate rms/min/max mode
  * @retval None
  */
void display (int mode, float num){     //

	displayNum (mode, 0); //display mode at location 0 (first LED display)
	HAL_Delay(1);

	float temp = num;
	int digit = (int) num;

	digit = digit % 10;
	displayNum (digit, 1); //display unit at location 1
	HAL_Delay(1);

	temp = num*10;
	digit = (int) temp;
	digit = digit % 10;
	displayNum (digit, 2); //display digit at location 2
	HAL_Delay(1);

	temp = num*100;
	digit = (int) temp;
	digit = digit % 10;
	displayNum (digit, 3); //display digit at location 3
	HAL_Delay(1);
}

/* USER CODE END 4 */

void _Error_Handler(char *file, int line)
{
  while(1)
  {
  }
}

/************************ (C) COPYRIGHT STMicroelectronics *****END OF FILE****/
